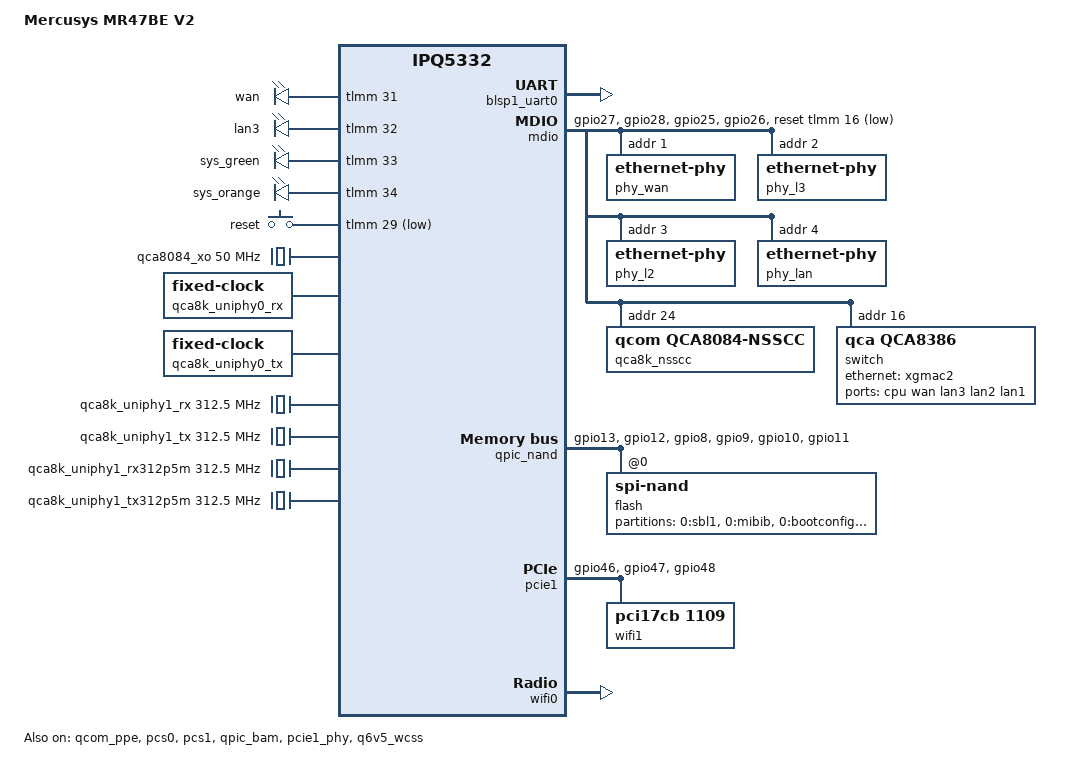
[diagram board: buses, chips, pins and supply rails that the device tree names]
// SPDX-License-Identifier: (GPL-2.0+ OR BSD-3-Clause)
//
// Mercusys MR47BE V2 - IPQ5332 AP-MI01.6 based Wi-Fi 7 tri-band router
// Base: GL-BE6500 DTS (qualcommbe/ipq53xx) + MR47BE V2 GPL kernel DTS
// SoC: Qualcomm IPQ5322 (die: "IPQ5322 003 FK5134HJ"; software variant
//      string is IPQ5332LA), 4x Cortex-A53, 1 GiB DDR4 (SEC K4A8G165WC)
// WiFi: on-SoC 2.4GHz (wifi0, qcom,board-id = 18 = 0x12) + QCN6274 via
//      PCIe1 (5G+6G, 2 radios, pci17cb,1109, qcom,board-id = 0x1015)
// Switch: QCA8084 - INTEGRATED into the IPQ53xx SoC (NO separate chip; GPL U-Boot
//      ipq_qca8084.c "QCA8084-switch"), 4x 2.5G + SoC PPE
// Flash: SPI-NAND Winbond W25N01GW 128MiB (NO SPI-NOR - boot log: not found)
// UART: GPIO18/19 @ 115200
// v6: firmware-DTB fixes on top of v5 (reset button gpio29, bus reset 30/39/45, LED 24/39 removed).
// v3: on top of FINAL-DTS-6.18.54: mdio reset-gpios removed, nsscc reset delay, reset button gpio30,
//     NAND ECC 4-bit (stock), conduit label "cpu". Everything else identical.

/dts-v1/;

#include <arm64/qcom/ipq5332.dtsi>

#include <dt-bindings/gpio/gpio.h>
#include <dt-bindings/input/input.h>
#include <dt-bindings/leds/common.h>
#include <dt-bindings/clock/qcom,ipq5332-nsscc.h>
#include <dt-bindings/clock/qcom,qca8k-nsscc.h>
#include <dt-bindings/reset/qcom,qca8k-nsscc.h>
#include <dt-bindings/net/qcom,qca808x.h>
#include <dt-bindings/net/qcom,ipq9574-pcs.h>

/ {
	#address-cells = <0x2>;
	#size-cells = <0x2>;
	model = "Mercusys MR47BE V2";
	compatible = "mercusys,mr47be-v2", "qcom,ipq5332-ap-mi01.6", "qcom,ipq5332";

	aliases {
		serial0 = &blsp1_uart0;
		/* Stock DTS semantic mapping: dp1/id=2 -> LAN switch CPU conduit,
		 * dp2/id=1 -> WAN MAC. These aliases are enumeration hints only;
		 * DSA still creates the actual lan1/lan2/lan3 ports below. */
		ethernet0 = &xgmac2;
		ethernet1 = &xgmac1;
		led-boot = &led_sys_green;
		led-failsafe = &led_sys_orange;
		led-running = &led_sys_green;
		led-upgrade = &led_sys_orange;
	};

	chosen {
		stdout-path = "serial0:115200n8";
		/* test051: because the NSSCC provider (clock-controller@18) is okay, CCF
		 * disables, at late_initcall, every branch with enable_count==0 in hardware
		 * (mac0..mac4/gephy/srds) = WAN+LAN RX zero (test039-A, test050 measured).
		 * clk_ignore_unused turns this cleanup off; what U-Boot set up stays in place. */
		bootargs-append = " root=/dev/ubiblock0_1 cnss2.bdf_integrated=0x12 clk_ignore_unused";
	};

        /* CPU: 4x Cortex-A53 */
        cpus {
		#address-cells = <0x01>;
		#size-cells = <0x00>;
		cpu@0 { reg = <0x00>; compatible = "arm,cortex-a53"; enable-method = "psci"; };
		cpu@1 { reg = <0x01>; compatible = "arm,cortex-a53"; enable-method = "psci"; };
		cpu@2 { reg = <0x02>; compatible = "arm,cortex-a53"; enable-method = "psci"; };
		cpu@3 { reg = <0x03>; compatible = "arm,cortex-a53"; enable-method = "psci"; };
	};

	reserved-memory {
		#address-cells = <2>;
		#size-cells = <2>;
		ranges;

		tzapp: tzapp@49b00000 {
			reg = <0x0 0x49b00000 0x0 0x00600000>;
			no-map;
		};

		/*
		 * Q6 carveout 35 MB (0x2300000) = VENDOR GL-BE9300 stock DTB
		 * (vendor.dts wcnss@4a900000) + MR47BE GPL mi01.6 value.
		 * test50: with 43MB, TZ AUTH ret=-12 res0=0 (SMC layer worked,
		 * TZ did not write the payload) -> mismatch with TZ's own 35MB table.
		 * test51: vendor map (m3 0x4cc00000, caldb 0x4ce00000).
		 */
		q6_region: wcss@4a900000 {
			reg = <0x0 0x4a900000 0x0 0x02300000>;
			no-map;
		};

		/* BE9300/MR47BE vendor Q6 BDF host window: q6 base + 0x0c00000.
		 * It intentionally lies in the tail of q6_region, as in the working
		 * GL-BE9300 DTS; ath12k consumes it as an explicit host-ddr region. */
		q6_host_ddr: host-ddr@4b500000 {
			reg = <0x0 0x4b500000 0x0 0x01700000>;
			no-map;
		};

		m3_dump: m3-dump@4cc00000 {
			reg = <0x0 0x4cc00000 0x0 0x100000>;
			no-map;
		};

		q6_caldb: q6-caldb@4ce00000 {
			reg = <0x0 0x4ce00000 0x0 0x500000>;
			no-map;
		};

		q6_etr: q6-etr-dump@4cd00000 {
			reg = <0x0 0x4cd00000 0x0 0x100000>;
			no-map;
		};

		/* ramoops: flint3 on be9300 at 0x4da00000, 1MB (persistent dmesg) */
		ramoops@4da00000 {
			compatible = "ramoops";
			reg = <0x0 0x4da00000 0x0 0x100000>;
			console-size = <0x40000>;
			record-size = <0x20000>;
			pmsg-size = <0x20000>;
		};

		mlo_mem: mlo-global-mem@4db00000 {
			reg = <0x0 0x4db00000 0x0 0x01100000>; /* TEST133: stock 17MB */
			no-map;
		};

		qcn9224_host_ddr: qcn9224-host-ddr@4ed00000 {
			reg = <0x0 0x4ed00000 0x0 0x03200000>;
			no-map;
		};
	};

	soc@0 {
		leds {
			compatible = "gpio-leds";
			pinctrl-0 = <&leds_pins>;
			pinctrl-names = "default";
			status = "okay";

			led@31 {
				label = "wan";
				gpios = <&tlmm 31 GPIO_ACTIVE_HIGH>;
				default-state = "off";
			};

			/* v6: led@24 (lan1) and led@39 (lan2) REMOVED. In the firmware DTB gpio24 =
			 * ledswitch BUTTON (input), gpio39 = PHY reset line. The LED mapping from the
			 * GPL mi01.6 reference board was not verified for this board. */

			led@32 {
				label = "lan3";
				gpios = <&tlmm 32 GPIO_ACTIVE_HIGH>;
				default-state = "off";
			};

			led_sys_green: led@33 {
				label = "sys_green";
				gpios = <&tlmm 33 GPIO_ACTIVE_HIGH>;
				default-state = "on";
			};

			led_sys_orange: led@34 {
				label = "sys_orange";
				gpios = <&tlmm 34 GPIO_ACTIVE_HIGH>;
				default-state = "on";
			};
		};

		gpio_keys {
			compatible = "gpio-keys";
			pinctrl-0 = <&button_pins>;
			pinctrl-names = "default";
			status = "okay";

			reset {
				label = "reset";
				linux,code = <KEY_RESTART>;
				gpios = <&tlmm 29 GPIO_ACTIVE_LOW>; /* v6: firmware DTB gpio-keys-polled reset = gpio29 (the 30 in v2-v5 was WRONG: 30 = PHY reset line) */
				linux,input-type = <1>;
			};
		};

		/* mdio@90000 is defined in the dtsi; compatible = "qcom,ipq4019-mdio".
		 * Redefining it here overrode the compatible and disabled the driver
		 * (no mdio probe -> no PHY/switch/WAN).
		 * The &mdio override is below: qca8k_nsscc, ethernet-phy-package@1,
		 * switch@10 (pseudo-PHY 0x10). */

        /* NSS & PPE */
	nss-ppe { qcom,ppeds-num = <0x02>; qcom,ppeds-map = <0x01 0x01 0x01 0x01 0x20 0x08 0x02 0x02 0x02 0x02 0x28 0x08>; };
	nsscc@39b00000 { compatible = "qcom,nsscc-ipq5332";
		clock-names = "xo", "cmn_pll_nss_clk_200m", "cmn_pll_nss_clk_300m", "gcc_gpll0_out_aux"; };
	};
};

&blsp1_uart0 {
	pinctrl-0 = <&serial_0_pins>;
	pinctrl-names = "default";
	status = "okay";
};

&tlmm {
	qspi_nand_pins: qspi_nand_pins {
		qspi_clock {
			pins = "gpio13";
			function = "qspi_clk";
			drive-strength = <8>;
			bias-disable;
		};

		qspi_cs {
			pins = "gpio12";
			function = "qspi_cs";
			drive-strength = <8>;
			bias-disable;
		};

		qspi_data {
			pins = "gpio8", "gpio9", "gpio10", "gpio11";
			function = "qspi_data";
			drive-strength = <8>;
			bias-disable;
		};
	};

	leds_pins: leds_pinmux {
		led_wan {
			pins = "gpio31";
			function = "gpio";
			drive-strength = <8>;
			bias-pull-down;
		};

		led_lan3 {
			pins = "gpio32";
			function = "gpio";
			drive-strength = <8>;
			bias-pull-down;
		};

		led_green {
			pins = "gpio33";
			function = "gpio";
			drive-strength = <8>;
			bias-pull-down;
		};

		led_orange {
			pins = "gpio34";
			function = "gpio";
			drive-strength = <8>;
			bias-pull-down;
		};
	};

	button_pins: button_pins {
		reset_button {
			pins = "gpio29";
			function = "gpio";
			drive-strength = <8>;
			bias-pull-up;
		};
	};

	pcie1_default: pcie1-default-state {
		clkreq-n-pins {
			pins = "gpio46";
			function = "pcie1_clk";
			drive-strength = <8>;
			bias-pull-up;
		};

		perst-n-pins {
			pins = "gpio47";
			function = "gpio";
			drive-strength = <8>;
			bias-pull-up;
			output-low;
		};

		wake-n-pins {
			pins = "gpio48";
			function = "pcie1_wake";
			drive-strength = <8>;
			bias-pull-up;
		};
	};

	mdio0_pins: mdio0-state {
		mux_0 {
			pins = "gpio25";
			function = "mdc0";
			drive-strength = <8>;
			bias-disable;
		};

		mux_1 {
			pins = "gpio26";
			function = "mdio0";
			drive-strength = <8>;
			bias-pull-up;
		};
	};

	mdio1_pins: mdio1-state {
		mux_0 {
			pins = "gpio27";
			function = "mdc1";
			drive-strength = <8>;
			bias-disable;
		};

		mux_1 {
			pins = "gpio28";
			function = "mdio1";
			drive-strength = <8>;
			bias-pull-up;
		};
	};
};

&mdio {
	status = "okay";
	pinctrl-0 = <&mdio1_pins &mdio0_pins>;
	pinctrl-names = "default";
	mdio_clk_fixup;
	/* QCA8084 reset (vendor GPL: phy-reset-gpio tlmm 16).
	 * QCA8084 = 4x 2.5G switch-PHY: LAN PORT1..3 + WAN PHY1.
	 * NO SEPARATE CHIP: QCA8084 is integrated into the IPQ53xx SoC (GPL U-Boot
	 * ipq_qca8084.c:1472 "QCA8084-switch"; all register/clock access goes
	 * through the internal MDIO). CERTAIN: there is NO QCA8386 (photo + boot log).
	 */
	/* TEST8: real vendor GPL resets (ipq5332-BE9300_2_0_0.dts:
	 * phy-reset-gpio = <&tlmm 30 0 &tlmm 39 0 &tlmm 43 0>).
	 * The old gpio16 was a GUESS and WRONG. */
	/* test46 (6.18.39) real vendor 3-PHY reset line */
	/* v6: firmware DTB (mr47be_stock_dtb) mdio node: phy-reset-gpio = tlmm 30, 39, 45
	 * (0x1e, 0x27, 0x2d). 45, not 43. NOTE: the MDIO core uses only the FIRST
	 * entry (30) of the reset-gpios array; 39 and 45 are only documented here.
	 * The qca8k_nsscc gpio16 reset was left untouched (same as v2-v5). */
	/* test011 = ref50 live DTB: mdio@90000 reset-gpios <&tlmm 16 ACTIVE_LOW>,
	 * assert/deassert 100000 us. Since qca8k_nsscc is disabled, this is the one
	 * place that guarantees the QCA8084 chip reset (in ref50 WAN+lan 2.5G link up).
	 * The old 30/39/45 array was a reading of the stock vendor DTB; the core only
	 * used the first entry anyway. */
	reset-gpios = <&tlmm 16 GPIO_ACTIVE_LOW>;
	reset-assert-us = <100000>;
	reset-deassert-us = <100000>;

	/* TEST9: U-Boot mii read EVIDENCE: at 004d.d180, addresses 1,2,3 respond (C22
	 * reg2/3), address 7 is EMPTY (FFFF). The 0x7/0x1d in the vendor DTS
	 * turned out to be port numbers, not MDIO addresses. Address 4 (WAN) is to be checked on the device. */
	/* B133: WAN PHY0 (MDIO addr 1) is now defined INSIDE the package as "ephy1"
	 * (below). The old standalone phy0 was DELETED: it collided with package@1 at
	 * the same MDIO address and did not get GEPHY0_SYS_CLK/RESET. */

	/* ===================================================================
	 /* B131: QCA8084 DSA switch - ONLY for LAN1/2/3.
	  * Taken from B127 (field-proven port mapping) + B130 clocks.
	  * WAN IS NOT HERE: xgmac1 -> phy0(addr1) works as in B130. */
	/* test011: exact shape of reference test50 - no DSA/switch driver.
	 * The mdio core recognizes these nodes by PHY ID (004d:d180); no clock/reset
	 * needed (U-Boot + mdio reset-gpios are enough). qca8084_probe supports the
	 * package-less path: devm_of_phy_package_join -EINVAL -> continue.
	 * GMAC1 <-> :01 (wan), GMAC2 <-> :04 (lan). :02/:03 are idle (test012). */
	/* test050: DSA users want these via phy-handle (the package node stays
	 * disabled, otherwise the child ephys do not probe and the DSA ports get
	 * stuck in -EPROBE_DEFER). die port N == EPHY MDIO address N:
	 *   :01 = WAN jack | :02 = LAN3 | :03 = LAN2 | :04 = LAN1 */
	phy_wan: ethernet-phy@1 {
		reg = <1>;
	};

	phy_l3: ethernet-phy@2 {
		reg = <2>;
	};

	phy_l2: ethernet-phy@3 {
		reg = <3>;
	};

	phy_lan: ethernet-phy@4 {
		reg = <4>;
	};

	qca8k_nsscc: clock-controller@18 {
		compatible = "qcom,qca8084-nsscc";
		reg = <0x18>;
		/* test050: provider ENABLED (the DSA driver wants 13 resets + 21 clocks).
		 * reset-gpios is NOT WRITTEN HERE: the &mdio node owns the die reset line; since
		 * the gpiod "reset" in probe is OPTIONAL, the line is never pulsed here. A double
		 * request = -EBUSY (test038) and a pulse = resets the die that U-Boot
		 * set up (test039-A: WAN+lan RX both zero). */
		status = "okay";
		reset-delay-us = <10000>;
		reset-post-delay-us = <50000>;
		/* v2: names read by the mdio_device core (the two above are legacy) */
		reset-assert-us = <10000>;
		reset-deassert-us = <50000>;
		#clock-cells = <1>;
		#reset-cells = <1>;
		#power-domain-cells = <1>;

		clocks = <&qca8084_xo>,
			 <&qca8k_uniphy0_rx>,
			 <&qca8k_uniphy0_tx>,
			 <&qca8k_uniphy1_rx>,
			 <&qca8k_uniphy1_tx>,
			 <&qca8k_uniphy1_rx312p5m>,
			 <&qca8k_uniphy1_tx312p5m>;
	};

	/* 3 integrated QCA8084 GEPHYs: addr2/3/4 = LAN3/LAN2/LAN1.
	 * (addr1 = WAN, stayed as a plain phy0 on the xgmac1 side.) */
	ethernet-phy-package@1 {
		compatible = "qcom,qca8084-package";
		reg = <1>;
		/* test011: ref50 live DTB also has NO package node; U-Boot sets WORK_MODE. */
		status = "disabled";
		#address-cells = <1>;
		#size-cells = <0>;

		clocks = <&qca8k_nsscc NSS_CC_APB_BRIDGE_CLK>,
			 <&qca8k_nsscc NSS_CC_AHB_CLK>,
			 <&qca8k_nsscc NSS_CC_SEC_CTRL_AHB_CLK>,
			 <&qca8k_nsscc NSS_CC_TLMM_CLK>,
			 <&qca8k_nsscc NSS_CC_TLMM_AHB_CLK>,
			 <&qca8k_nsscc NSS_CC_CNOC_AHB_CLK>,
			 <&qca8k_nsscc NSS_CC_MDIO_AHB_CLK>,
			 <&qca8k_nsscc NSS_CC_MDIO_MASTER_AHB_CLK>,
			 <&qca8k_nsscc NSS_CC_SWITCH_CORE_CLK>;
		clock-names = "apb_bridge", "ahb", "sec_ctrl_ahb",
			      "tlmm", "tlmm_ahb", "cnoc_ahb", "mdio_ahb",
			      "mdio_master_ahb", "switch_core";
		resets = <&qca8k_nsscc NSS_CC_GEPHY_FULL_ARES>;

		/* WORK_MODE 0x20 = PCS1_SGMII | MAC_PCS0_SGMII | PHY.
		 * test120 evidence: writing 0x10 KILLS the LAN1 uplink. */
		qcom,package-mode = <QCA808X_PCS1_SGMII_MAC_PCS0_SGMII_PHY>;
		qcom,phy-addr-fixup = <1 2 3 4 5 6 7>;

		/* B133: PHY0 = WAN (GMAC1). The upstream binding (0301) requires the package's
		 * FIRST child to be ethernet-phy@1: reg=1 + GEPHY0_SYS_CLK/ARES.
		 * In B131/B132 this node was MISSING -> the WAN EPHY stayed outside the package and
		 * got neither clock nor reset (WAN link Up but no DHCP). */
		ephy1: ethernet-phy@1 {
			compatible = "ethernet-phy-id004d.d180";
			reg = <1>;
			clocks = <&qca8k_nsscc NSS_CC_GEPHY0_SYS_CLK>;
			resets = <&qca8k_nsscc NSS_CC_GEPHY0_SYS_ARES>;
		};

		ephy2: ethernet-phy@2 {
			compatible = "ethernet-phy-id004d.d180";
			reg = <2>;
			clocks = <&qca8k_nsscc NSS_CC_GEPHY1_SYS_CLK>;
			resets = <&qca8k_nsscc NSS_CC_GEPHY1_SYS_ARES>;
		};

		ephy3: ethernet-phy@3 {
			compatible = "ethernet-phy-id004d.d180";
			reg = <3>;
			clocks = <&qca8k_nsscc NSS_CC_GEPHY2_SYS_CLK>;
			resets = <&qca8k_nsscc NSS_CC_GEPHY2_SYS_ARES>;
		};

		ephy4: ethernet-phy@4 {
			compatible = "ethernet-phy-id004d.d180";
			reg = <4>;
			clocks = <&qca8k_nsscc NSS_CC_GEPHY3_SYS_CLK>;
			resets = <&qca8k_nsscc NSS_CC_GEPHY3_SYS_ARES>;
		};

		/* PCS1 SGMII+ -> carrier of switch MAC0 (CPU uplink). */
		pcs-phy@6 {
			compatible = "qcom,qca8k-pcs-phy";
			reg = <6>;
			clocks = <&qca8k_nsscc NSS_CC_SRDS1_SYS_CLK>,
				 <&qca8k_uniphy1_tx312p5m>,
				 <&qca8k_uniphy1_rx312p5m>;
			clock-names = "pcs", "pcs_rx_root", "pcs_tx_root";
			resets = <&qca8k_nsscc NSS_CC_SRDS1_SYS_ARES>;
		};
	};

	/* A QCA8386-compatible DSA driver manages the QCA8084 (there is NO QCA8386
	 * on the board; register window is pseudo-PHY 0x10). */
	switch@10 {
		compatible = "qca,qca8386";
		reg = <0x10>;
		/* test050: ENABLED. Driver = m (module); the dsa profile of mr47be-die-switch
		 * does the insmod, because the WORK_MODE 0x20 -> 0x10 flip and the
		 * SerDes/RCG/CBC bring-up must come first (proof: test047 apply order). */
		status = "okay";
		#address-cells = <1>;
		#size-cells = <0>;

		resets = <&qca8k_nsscc NSS_CC_SWITCH_CORE_ARES>,
			 <&qca8k_nsscc NSS_CC_MAC0_TX_ARES>,
			 <&qca8k_nsscc NSS_CC_MAC0_RX_ARES>,
			 <&qca8k_nsscc NSS_CC_MAC1_TX_ARES>,
			 <&qca8k_nsscc NSS_CC_MAC1_RX_ARES>,
			 <&qca8k_nsscc NSS_CC_MAC2_TX_ARES>,
			 <&qca8k_nsscc NSS_CC_MAC2_RX_ARES>,
			 <&qca8k_nsscc NSS_CC_MAC3_TX_ARES>,
			 <&qca8k_nsscc NSS_CC_MAC3_RX_ARES>,
			 <&qca8k_nsscc NSS_CC_MAC4_TX_ARES>,
			 <&qca8k_nsscc NSS_CC_MAC4_RX_ARES>,
			 <&qca8k_nsscc NSS_CC_MAC5_TX_ARES>,
			 <&qca8k_nsscc NSS_CC_MAC5_RX_ARES>;
		reset-names = "switch_core",
			      "mac0_tx", "mac0_rx",
			      "mac1_tx", "mac1_rx",
			      "mac2_tx", "mac2_rx",
			      "mac3_tx", "mac3_rx",
			      "mac4_tx", "mac4_rx",
			      "mac5_tx", "mac5_rx";

		clocks = <&qca8k_nsscc NSS_CC_MAC0_TX_CLK>,
			 <&qca8k_nsscc NSS_CC_MAC0_RX_CLK>,
			 <&qca8k_nsscc NSS_CC_MAC0_TX_SRDS1_CLK>,
			 <&qca8k_nsscc NSS_CC_MAC0_RX_SRDS1_CLK>,
			 <&qca8k_nsscc NSS_CC_MAC1_TX_CLK>,
			 <&qca8k_nsscc NSS_CC_MAC1_RX_CLK>,
			 <&qca8k_nsscc NSS_CC_MAC1_GEPHY0_TX_CLK>,
			 <&qca8k_nsscc NSS_CC_MAC1_GEPHY0_RX_CLK>,
			 <&qca8k_nsscc NSS_CC_MAC2_TX_CLK>,
			 <&qca8k_nsscc NSS_CC_MAC2_RX_CLK>,
			 <&qca8k_nsscc NSS_CC_MAC2_GEPHY1_TX_CLK>,
			 <&qca8k_nsscc NSS_CC_MAC2_GEPHY1_RX_CLK>,
			 <&qca8k_nsscc NSS_CC_MAC3_TX_CLK>,
			 <&qca8k_nsscc NSS_CC_MAC3_RX_CLK>,
			 <&qca8k_nsscc NSS_CC_MAC3_GEPHY2_TX_CLK>,
			 <&qca8k_nsscc NSS_CC_MAC3_GEPHY2_RX_CLK>,
			 <&qca8k_nsscc NSS_CC_MAC4_TX_CLK>,
			 <&qca8k_nsscc NSS_CC_MAC4_RX_CLK>,
			 <&qca8k_nsscc NSS_CC_MAC4_GEPHY3_TX_CLK>,
			 <&qca8k_nsscc NSS_CC_MAC4_GEPHY3_RX_CLK>,
			 <&qca8k_nsscc NSS_CC_SRDS1_SYS_CLK>;
		clock-names = "mac0_tx", "mac0_rx", "mac0_tx_srds1", "mac0_rx_srds1",
			      "mac1_tx", "mac1_rx", "mac1_gephy_tx", "mac1_gephy_rx",
			      "mac2_tx", "mac2_rx", "mac2_gephy_tx", "mac2_gephy_rx",
			      "mac3_tx", "mac3_rx", "mac3_gephy_tx", "mac3_gephy_rx",
			      "mac4_tx", "mac4_rx", "mac4_gephy_tx", "mac4_gephy_rx",
				     "srds1_sys";

		ports {
			#address-cells = <1>;
			#size-cells = <0>;

			/* test050 SINGLE CONDUIT = die port5 <-> &xgmac2 (pcs1/UNIPHY1).
			 * Evidence: vendor cpu_bmp=0x21 (port0 + port5) and the test047 flip
			 * carries LAN over port5 (measured with acl cpu_bmp 0x21:
			 * 0x20000000/0x14). 6.18 DSA (dsa.c:1120 + dsa_tree_setup)
			 * assigns the FIRST local CPU port to the user ports -> single conduit.
			 * B127 evidence: "sgmii" rejects 2500 -> 2500base-x +
			 * fixed-link; the fixed-link SUB-NODE must come last. */
			port@5 {
				reg = <5>;
				label = "cpu";
				ethernet = <&xgmac2>;
				phy-mode = "2500base-x";
				fixed-link {
					speed = <2500>;
					full-duplex;
				};
			};

			/* Users: the label is directly the netdev name
			 * (user.c:dsa_user_create, NET_NAME_PREDICTABLE).
			 * phy-handle = standalone qca808x PHYs (MDIO 1..4);
			 * since the package node stays disabled, the ephy1..4 labels
			 * CANNOT BE USED (they do not probe, DSA defers forever).
			 * WAN is also on the die now: WORK_MODE is global, bypass and
			 * switch cannot be active at the same time (test042/#82). */
			/* phylib SINGLE OWNER rule (drivers/net/phy/phy_device.c
			 * phy_attach_direct): if a PHY is already attached to a dev, a second
			 * attach gives -EBUSY "PHY already attached". &phy_wan must hold the
			 * PRE-flip WAN path (xgmac1) -> DSA port@1 becomes a
			 * fixed-link. The fabric does the carrying inside the die; link
			 * state is not the judge, the DSA-GUARD pinger gives the verdict.
			 * The fixed-link SUB-NODE must come last. */
			port@1 {
				reg = <1>;
				label = "wan";
				phy-mode = "internal";
				fixed-link {
					speed = <2500>;
					full-duplex;
				};
			};

			port@2 {
				reg = <2>;
				label = "lan3";
				phy-mode = "internal";
				phy-handle = <&phy_l3>;
			};

			port@3 {
				reg = <3>;
				label = "lan2";
				phy-mode = "internal";
				phy-handle = <&phy_l2>;
			};

			port@4 {
				reg = <4>;
				label = "lan1";
				phy-mode = "internal";
				phy-handle = <&phy_lan>;
			};
		};	/* ports */
	};	/* switch@10 */
	/* The closing of &mdio is appended below (via replace). */};

/* TEST22 (vendor truth: Iplatform/build/product_configs/MR47BEv2/
 * kernel-ipq5332-mi01.6.dts):
 *   dp1 = qcom,id=2, reg 0x3a504000, qcom,is_switch_connected=1 -> LAN (behind the switch)
 *   dp2 = qcom,id=1, reg 0x3a500000, no phy                     -> WAN
 * Evidence: ppe_regs.h:605 PPE_PORT_XGMAC_ADDR(x)=0x500000+(x-1)*0x4000
 *   port@1 = 0x3a500000 = MAC1 = WAN | port@2 = 0x3a504000 = MAC2 = LAN-switch
 * Field evidence (test20): cable in the LAN1 jack -> port@2 ("wan") netdev link came up.
 * I.e. before TEST22 the labels were the reverse of the vendor's.
 * The WAN jack PHY MDIO address is one of 1, 2 or 3 (U-Boot live PHY: 1,2,3;
 * addr4 = LAN1, proven in test20). First attempt: wan = phy@1
 * (vendor boot log "eth0 PHY1 = WAN"). port@2 is a fixed-link without phy-handle
 * (vendor dp1 has no phy-handle; LAN1..3 reach MAC2 via the QCA8084 switch).
 */
&qcom_ppe {
	status = "okay";

	ethernet-ports {
		#address-cells = <1>;
		#size-cells = <0>;

		xgmac1: port@1 {
			reg = <1>;
			/* test050: the "wan" netdev name moved to DSA port@1 (the WAN jack
			 * is now the die's switch port1). This MAC carries the pre-flip bypass
			 * path (WORK_MODE is global: bypass + fabric cannot be active at the same
			 * time, test042/#82); netdev name "gmac1". */
			label = "gmac1";
			pcs-handle = <&pcs0_ch0>;
			/* test011 = ref50 live DTB: GMAC1 over pcs0/uniphy0 with
			 * 2500base-x + in-band-status. Works without being attached to a PHY driver
			 * (ref50: wan rx 8906 packets, DHCP 192.168.1.110). */
			phy-mode = "2500base-x";
			/* test050 FIX: phy-handle RESTORED.
			 * Evidence: drivers/net/phy/phy_device.c phy_attach_direct()
			 * gives -EBUSY "PHY already attached" on a second attach,
			 * i.e. &phy_wan can only have a single owner. It must stay here
			 * because: (1) the pre-flip bypass path (test047 WAN 2.5G) works with this
			 * MAC+PHY, (2) the ready() gate in the service looks at the gmac1 link while
			 * DSA is marked, (3) since DSA port@1 is a fixed-link it does not
			 * claim the PHY -> no conflict. */
			phy-handle = <&phy_wan>;
			nvmem-cells = <&base_macaddr 0>;
			nvmem-cell-names = "mac-address"; /* TEST22: WAN jack = QCA8084 PHY, MDIO addr1 (candidate: 1/2/3) */

			clocks = <&nsscc NSS_CC_PORT1_MAC_CLK>,
				 <&nsscc NSS_CC_PORT1_RX_CLK>,
				 <&nsscc NSS_CC_PORT1_TX_CLK>;
			clock-names = "mac",
				      "rx",
				      "tx";
			resets = <&nsscc NSS_CC_PORT1_MAC_CLK_ARES>,
				 <&nsscc NSS_CC_PORT1_RX_CLK_ARES>,
				 <&nsscc NSS_CC_PORT1_TX_CLK_ARES>;
			reset-names = "mac",
				      "rx",
				      "tx";

		};

		xgmac2: port@2 {
			reg = <2>;
			label = "lan";
			pcs-handle = <&pcs1_ch0>;
			/* test011 = ref50: GMAC2 directly to EPHY :04 (pcs1/uniphy1,
			 * phy/sgmii). No DSA conduit, no fixed-link. */
			/* TEST048 ROOT-CAUSE FIX:
			 * The old recipe (test011 ref50) tied GMAC2 to EPHY :04, i.e. the PHY of the LAN1
			 * JACK; since phylink takes the carrier from that PHY's MDI
			 * link, 'lan' dropped when no cable was in LAN1 and br-lan's only
			 * cabled member disappeared. That is why LAN2/LAN3 worked only
			 * while LAN1 was populated (t315/t317 live evidence).
			 * In switch mode the data path is die port5; jack links come from the die's own
			 * PS words. The vendor dp1 recipe also has port@2 without phy-handle.
			 * B127 evidence: "sgmii" rejects 2500 -> 2500base-x + fixed-link.
			 * dtc rule: the fixed-link SUB-NODE must come after all properties. */
			/* TEST049: test048 removed this phy-handle for the fixed-link and
			 * LAN1/2/3 died: the die mesh was carrying LAN2/3 frames over port4 (the LAN1 EPHY),
			 * which was the uplink itself. Reverted.
			 */
			phy-mode = "2500base-x";
			/* test050: phy-handle REMOVED. This MAC is now the DSA
			 * conduit (switch port@5 ethernet=<&xgmac2>): trunk,
			 * the SerDes line of die port5; jack links are read from the die's own PS
			 * words. &phy_lan is now the phy-handle of DSA port@4
			 * (double dependency is forbidden).
			 * The NEGATIVE result of TEST048 belonged to the bypass topology -
			 * in that mode the uplink itself was EPHY4; in switch mode the port5
			 * trunk is a fixed-link, so "lan" is always oper-up. */
			nvmem-cells = <&base_macaddr 1>;
			nvmem-cell-names = "mac-address"; /* TEST27: LAN1 jack = PHY addr4 (test20 evidence + MAC2<->addr4 link response in test11a) */


			clocks = <&nsscc NSS_CC_PORT2_MAC_CLK>,
				 <&nsscc NSS_CC_PORT2_RX_CLK>,
				 <&nsscc NSS_CC_PORT2_TX_CLK>;
			clock-names = "mac",
				      "rx",
				      "tx";
			resets = <&nsscc NSS_CC_PORT2_MAC_CLK_ARES>,
				 <&nsscc NSS_CC_PORT2_RX_CLK_ARES>,
				 <&nsscc NSS_CC_PORT2_TX_CLK_ARES>;
			reset-names = "mac",
				      "rx",
				      "tx";

			fixed-link {
				speed = <2500>;
				full-duplex;
			};

		};
	};
};
&pcs0 {
	status = "okay";
};

&pcs1 {
	/* test011 = ref50 live DTB: keep only the XPCS reset from the dtsi.
	 * The old B119 override gave GCC_UNIPHY1_BCR under the name "sys";
	 * the pcs-qcom-ipq9574.c:418 (sys_rstc || soft_rstc) block fully reset the UNIPHY1
	 * SerDes with a 100ms assert/deassert -> U-Boot's SGMII setup
	 * was lost (test001-010 lan rx=0). In ref50 the name is absent -> the block does not run
	 * and the 2.5G link is up on the same line. dtsi resets = <&gcc GCC_UNIPHY1_XPCS_ARES>. */
	status = "okay";
};

&qpic_bam {
	status = "okay";
};

&qpic_nand {
	pinctrl-0 = <&qspi_nand_pins>;
	pinctrl-names = "default";
	status = "okay";

	flash@0 {
		compatible = "spi-nand";
		reg = <0>;
		#address-cells = <1>;
		#size-cells = <1>;
		nand-ecc-engine = <&qpic_nand>;
		/* v3: stock DTB nandcs@0 = nand-ecc-strength 4 / step 512 / bus-width 8.
		 * 8 (GL-BE6500 copy) did not let the stock-written partitions (0:art, ubi) be read:
		 * UART log: "I/O error, dev mtdblock10", "UBI error: unable to read
		 * from mtd12", WAN "Using random MAC address". */
		nand-ecc-strength = <4>;
		nand-ecc-step-size = <512>;
		nand-bus-width = <8>;

		partitions {
			compatible = "fixed-partitions";
			#address-cells = <1>;
			#size-cells = <1>;

			/* Real NAND layout (PRE_TEST_CHECK §4 = nand-partition.xml).
			 * The previous even 1MiB blocks were SHIFTED: 0:art pointed to the wrong place,
			 * ubi overlapped the physical rootfs + rootfs_1 (soft-brick risk).
			 * ART (0x900000..0xB00000) read-only; MAC nvmem is read from here. */
			partition@0 {
				label = "0:sbl1";
				reg = <0x0 0x180000>;
				read-only;
			};

			partition@180000 {
				label = "0:mibib";
				reg = <0x180000 0x100000>;
				read-only;
			};

			partition@280000 {
				label = "0:bootconfig";
				reg = <0x280000 0x080000>;
				read-only;
			};

			partition@300000 {
				label = "0:bootconfig1";
				reg = <0x300000 0x080000>;
				read-only;
			};

			partition@380000 {
				label = "0:qsee";
				reg = <0x380000 0x240000>;
				read-only;
			};

			partition@5c0000 {
				label = "0:devcfg";
				reg = <0x5c0000 0x080000>;
				read-only;
			};

			partition@640000 {
				label = "0:tme";
				reg = <0x640000 0x080000>;
				read-only;
			};

			partition@6c0000 {
				label = "0:cdt";
				reg = <0x6c0000 0x080000>;
				read-only;
			};

			partition@740000 {
				label = "0:appsblenv";
				reg = <0x740000 0x080000>;
				read-only;
			};

			partition@7c0000 {
				label = "0:appsbl";
				reg = <0x7c0000 0x140000>;
				read-only;
			};

			partition@900000 {
				label = "0:art";
				reg = <0x900000 0x200000>;
				read-only;

				nvmem-layout {
					compatible = "fixed-layout";
					#address-cells = <1>;
					#size-cells = <1>;

					/* test041: ART+0x0 is empty (ff:ff:ff:ff:ff:ff) -> of_get_mac_address
					 * rejects the invalid address and falls back to eth_hw_addr_random. The factory MAC
					 * is at ART+0x1008 (inside the cal-ahb header, 00:f8:b3:0d:a8:04 on this board).
					 * index0=WAN, index1=LAN; on LAN, U-Boot's local-mac-address takes
					 * precedence (of_net order: mac-address > local-mac-address > nvmem),
					 * so the only real change is the WAN jack. */
					base_macaddr: mac-address@1008 {
						compatible = "mac-base";
						reg = <0x1008 0x6>;
						#nvmem-cell-cells = <1>;
					};
				};
			};

			partition@b00000 {
				label = "secure-binary";
				reg = <0xb00000 0x080000>;
				read-only;
			};

			partition@b80000 {
				label = "ubi";
				reg = <0xb80000 0x34c0000>;
			};

			partition@4040000 {
				label = "rootfs_1";
				reg = <0x4040000 0x34c0000>;
				read-only;
			};

			partition@7500000 {
				label = "tp_data";
				reg = <0x7500000 0x0a00000>;
			};

			partition@7f00000 {
				label = "data";
				reg = <0x7f00000 0x080000>;
			};

			partition@7f80000 {
				label = "reserverd_data";
				reg = <0x7f80000 0x080000>;
			};
		};
	};
};

&pcie1_phy {
	status = "okay";
};

&pcie1 {
	status = "okay";

	pinctrl-0 = <&pcie1_default>;
	pinctrl-names = "default";

	perst-gpios = <&tlmm 47 GPIO_ACTIVE_LOW>;
	wake-gpios = <&tlmm 48 GPIO_ACTIVE_LOW>;

	pcie@0 {
		wifi1: pcie@0 {
			compatible = "pci17cb,1109";
			reg = <0x00010000  0 0 0 0>;
			/* QCN6274 dualmac: MAC0 = 5 GHz, MAC1 = 6 GHz.
			 * OTP board-id is 0xff on this board; the board-2.bin entry is
			 * "bus=pci,qmi-chip-id=0,qmi-board-id=4121" (0x1019).
			 * The mac80211 patch 701 reads the id from DT. */
			qcom,ath12k-board-id = <4121>;

			/* TEST144: WSI ports graph REMOVED -> test45/47 single-device mode.
			 * Evidence: the 103 log goes silent after "qcn9274 hw2.0 / MSI vectors: 16" (the wall in test41-44);
			 * test45-47 with the portless DTS brought up a 5G ch36/80 + 6G ch37/160 AP.
			 * REVERT: put back the blocks from the .bak_104_pre_ports_revert file. */

		};
	};
};

&ref_48mhz_clk {
	clock-div = <1>;
	clock-mult = <1>;
};

&sleep_clk {
	clock-frequency = <32000>;
};

&xo_board {
	clock-div = <2>;
	clock-mult = <1>;
};

&xo_clk {
	clock-frequency = <48000000>;
};

&wifi0 {
	firmware-name = "ath12k/IPQ5332/hw1.0/q6_fw1.mdt",
			"ath12k/IPQ5332/hw1.0/iu_fw.mdt";
	/* ath12k AHB (mac80211 backports wifi7 driver) resolves these by INDEX, not
	 * by name: index0 = q6-region (UserPD load + BDF pool at +bdf_addr_offset
	 * = 0x4b500000), index1 = m3-dump.  With host-ddr at index1 the target is
	 * told its M3 dump buffer starts on top of the BDF/calibration data. */
	memory-region = <&q6_region>, <&m3_dump>, <&q6_caldb>, <&mlo_mem>,
			<&q6_etr>, <&q6_host_ddr>;
	memory-region-names = "q6-region", "m3-dump", "q6-caldb", "mlo-global-mem",
			      "q6-etr-dump", "host-ddr-mem";
	/* The board-2.bin entry is "bus=ahb,qmi-chip-id=0,qmi-board-id=18".
	 * QMI returns board_id 0xff on this device; patch 701 (mac80211)
	 * reads the id from DT. The qcom,board-id / bdf-type properties
	 * were not read by any driver in this tree, so they were removed. */
	qcom,ath12k-board-id = <18>;
	qcom,rproc = <&q6v5_wcss>;
	qcom,wsi-controller;

	status = "okay";

	/* TEST144: WSI ports graph REMOVED -> test45/47 single-device mode.
	 * Evidence: the 103 log goes silent after "qcn9274 hw2.0 / MSI vectors: 16" (the wall in test41-44);
	 * test45-47 with the portless DTS brought up a 5G ch36/80 + 6G ch37/160 AP.
	 * REVERT: put back the blocks from the .bak_104_pre_ports_revert file. */

};

&q6v5_wcss {
	firmware-name = "ath12k/IPQ5332/hw1.0/q6_fw0.mdt";
	/* TEST142: stock DTS (stock_mi01.dts 1540-1560) properties */
	qcom,bootargs_smem = <0x1fb>;
	qcom,bootargs_version = <0x02>;
	upd-firmware-names = "ath12k/IPQ5332/hw1.0/q6_fw1.mdt";
	qcom,userpd-bootargs;
	qcom,heartbeat_smem = <0x1fc>;
	status = "okay";
};

/* TEST116: input clocks of the QCA8386 internal NSS clock controller (nsscc @ MDIO 0x18).
 * XO = real 50 MHz. The UNIPHY1 rate comes from the on-chip SerDes PLL; the fixed-clock
 * is only there to select the CCF parent. UNIPHY0 is not used in switch mode -> 0 Hz
 * stub (the RCG selector falls to UNIPHY1_TX312P5M/2.5 - proven on SPNMX57). */
/ {
	qca8084_xo: clock-qca8084-xo {
		compatible = "fixed-clock";
		#clock-cells = <0>;
		clock-frequency = <50000000>;
	};

	qca8k_uniphy0_rx: clock-qca8k-uniphy0-rx {
		compatible = "fixed-clock";
		#clock-cells = <0>;
		clock-frequency = <0>;
	};

	qca8k_uniphy0_tx: clock-qca8k-uniphy0-tx {
		compatible = "fixed-clock";
		#clock-cells = <0>;
		clock-frequency = <0>;
	};

	qca8k_uniphy1_rx: clock-qca8k-uniphy1-rx {
		compatible = "fixed-clock";
		#clock-cells = <0>;
		clock-frequency = <312500000>;
	};

	qca8k_uniphy1_tx: clock-qca8k-uniphy1-tx {
		compatible = "fixed-clock";
		#clock-cells = <0>;
		clock-frequency = <312500000>;
	};

	qca8k_uniphy1_rx312p5m: clock-qca8k-uniphy1-rx312p5m {
		compatible = "fixed-clock";
		#clock-cells = <0>;
		clock-frequency = <312500000>;
	};

	qca8k_uniphy1_tx312p5m: clock-qca8k-uniphy1-tx312p5m {
		compatible = "fixed-clock";
		#clock-cells = <0>;
		clock-frequency = <312500000>;
	};
};

/* B127: NSSCC's UNIPHY parent clocks (were left as <0> in ipq5332.dtsi!).
 * The order must match the DT_ enum in nsscc-ipq5332.c exactly:
 *   0=cmn_pll_nss_200m 1=cmn_pll_nss_300m 2=gpll0_aux
 *   3=uniphy0 TX 4=uniphy0 RX 5=uniphy1 TX 6=uniphy1 RX 7=xo_board
 * (PCS_TX_CLK=1 / PCS_RX_CLK=0 -> dt-bindings/net/qcom,ipq9574-pcs.h)
 * Without this link nss_cc_port2_rx/tx_clk_src cannot select 312.5 MHz and stays
 * on XO (24 MHz); the conduit MAC2 <-> switch CPU port carries no data.
 * Evidence: MR47BE_126 -> nss_cc_port2_rx_clk = 24000000
 *       (should be 312500000; the PCS side is already 312500000).
 */
&nsscc {
	/* B130: NSSCC probe REQUIRES the names "bus/nssnoc/nssnoc_snoc/nssnoc_snoc_1/
	 * snoc_nssnoc/snoc_nssnoc_1" via pm_clk_add(). Without clock-names,
	 * of_clk_get_by_name() falls to index 0 -> all 6 names get tied to the same PLL and
	 * the GCC NSS<->SNOC fabric clocks are NEVER enabled -> the LAN/PPE conduit
	 * data path stays dead (link is up, no traffic). Same as PR#23161 0375. */
	clocks = <&cmn_pll_nss_200m_clk>,
		 <&cmn_pll_nss_300m_clk>,
		 <&gcc GPLL0_OUT_AUX>,
		 <&pcs0 PCS_TX_CLK>,
		 <&pcs0 PCS_RX_CLK>,
		 <&pcs1 PCS_TX_CLK>,
		 <&pcs1 PCS_RX_CLK>,
		 <&xo_board>,
		 <&gcc GCC_NSSCC_CLK>,
		 <&gcc GCC_NSSNOC_NSSCC_CLK>,
		 <&gcc GCC_NSSNOC_SNOC_CLK>,
		 <&gcc GCC_NSSNOC_SNOC_1_CLK>,
		 <&gcc GCC_SNOC_NSSNOC_CLK>,
		 <&gcc GCC_SNOC_NSSNOC_1_CLK>;
	clock-names = "cmn_pll_nss_clk_200m",
		      "cmn_pll_nss_clk_300m",
		      "gcc_gpll0_out_aux",
		      "uniphy0_tx",
		      "uniphy0_rx",
		      "uniphy1_tx",
		      "uniphy1_rx",
		      "xo",
		      "bus",
		      "nssnoc",
		      "nssnoc_snoc",
		      "nssnoc_snoc_1",
		      "snoc_nssnoc",
		      "snoc_nssnoc_1";
};
